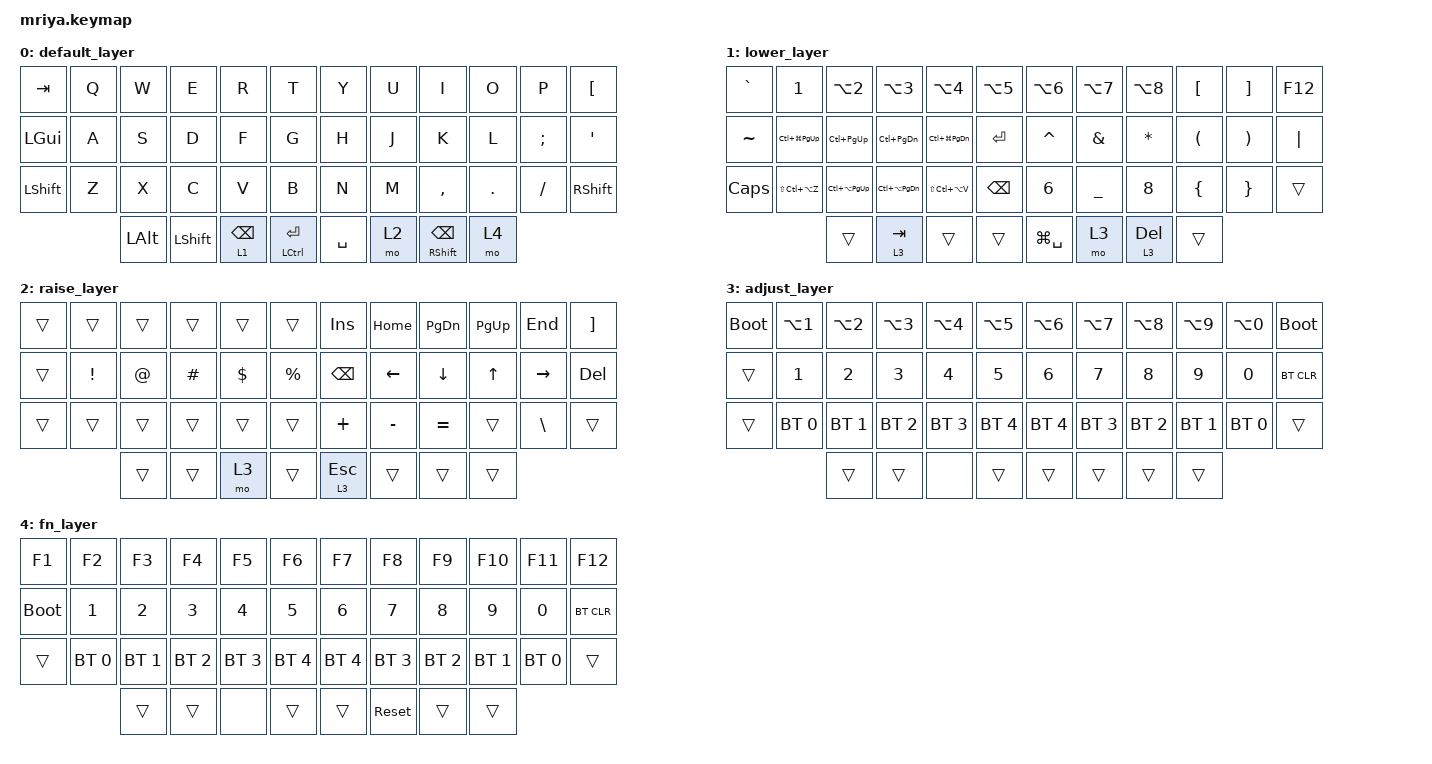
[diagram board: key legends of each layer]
/*
 * Copyright (c) 2023 Andrei Gaevskii
 *
 * SPDX-License-Identifier: MIT
 */

#include <behaviors.dtsi>
#include <dt-bindings/zmk/keys.h>
#include <dt-bindings/zmk/bt.h>

#define DEF 0
#define LWR 1
#define RSE 2
#define ADJ 3
#define FN 4

&lt {
    quick_tap_ms = <200>;
};

&mt {
    quick_tap_ms = <200>;
};

/ {
    keymap {
        compatible = "zmk,keymap";

        default_layer {
            bindings = <


// ╭──────────────────┬──────────────────┬──────────────────┬──────────────────┬──────────────────┬──────────────────╮    ╭──────────────────┬──────────────────┬─────────────────┬──────────────────┬──────────────────┬──────────────────╮
     &kp TAB            &kp Q              &kp W              &kp E              &kp R              &kp T                   &kp Y              &kp U              &kp I             &kp O              &kp P              &kp LBKT
// ├──────────────────┼──────────────────┼──────────────────┼──────────────────┼──────────────────┼──────────────────┤    ├──────────────────┼──────────────────┼─────────────────┼──────────────────┼──────────────────┼──────────────────┤
     &kp LGUI           &kp A              &kp S              &kp D              &kp F              &kp G                   &kp H              &kp J              &kp K             &kp L              &kp SEMI           &kp SQT
// ├──────────────────┼──────────────────┼──────────────────┼──────────────────┼──────────────────┼──────────────────┤    ├──────────────────┼──────────────────┼─────────────────┼──────────────────┼──────────────────┼──────────────────┤
     &kp LSHFT          &kp Z              &kp X              &kp C              &kp V              &kp B                   &kp N              &kp M              &kp COMMA         &kp DOT            &kp FSLH           &kp RSHFT
// ╰──────────────────┴──────────────────┴──────────────────┴──────────────────┼──────────────────┼──────────────────┤    ├──────────────────┼──────────────────┼─────────────────┼──────────────────┼──────────────────┴──────────────────╯
                                           &kp LALT            &kp LSHFT          &lt 1 BSPC         &mt LCTRL ENTER            &kp SPACE            &mo 2          &mt RSHFT BSPC    &mo 4
//                                       ╰──────────────────┴──────────────────┴──────────────────┴──────────────────╯    ╰──────────────────┴──────────────────┴─────────────────┴──────────────────╯

            >;
        };

        lower_layer {
            bindings = <

// ╭──────────────────┬──────────────────┬──────────────────┬──────────────────┬──────────────────┬──────────────────╮    ╭──────────────────┬──────────────────┬─────────────────┬──────────────────┬──────────────────┬──────────────────╮
     &kp GRAVE          &kp N1             &kp LA(N2)         &kp LA(N3)         &kp LA(N4)         &kp LA(N5)              &kp LA(N6)         &kp LA(N7)         &kp LA(N8)        &kp LBKT           &kp RBKT           &kp F12
// ├──────────────────┼──────────────────┼──────────────────┼──────────────────┼──────────────────┼──────────────────┤    ├──────────────────┼──────────────────┼─────────────────┼──────────────────┼──────────────────┼──────────────────┤
     &kp TILDE          &kp LC(LG(PG_UP))  &kp LC(PG_UP)      &kp LC(PG_DN)      &kp LC(LG(PG_DN))  &kp RET                 &kp CARET          &kp AMPS           &kp STAR          &kp LPAR           &kp RPAR           &kp PIPE
// ├──────────────────┼──────────────────┼──────────────────┼──────────────────┼──────────────────┼──────────────────┤    ├──────────────────┼──────────────────┼─────────────────┼──────────────────┼──────────────────┼──────────────────┤
     &kp CAPSLOCK       &kp LS(LC(LA(Z)))  &kp LC(LA(PG_UP))  &kp LC(LA(PG_DN))  &kp LS(LC(LA(V)))  &kp BSPC                &kp N6             &kp UNDER          &kp N8            &kp LBRC           &kp RBRC           &trans
// ╰──────────────────┴──────────────────┴──────────────────┴──────────────────┼──────────────────┼──────────────────┤    ├──────────────────┼──────────────────┼─────────────────┼──────────────────┼──────────────────┴──────────────────╯
                                           &trans             &lt 3 TAB          &trans             &trans                  &kp LG(SPACE)      &mo 3              &lt 3 DEL         &trans
//                                       ╰──────────────────┴──────────────────┴──────────────────┴──────────────────╯    ╰──────────────────┴──────────────────┴─────────────────┴──────────────────╯

            >;
        };

        raise_layer {
            bindings = <

// ╭──────────────────┬──────────────────┬──────────────────┬──────────────────┬──────────────────┬──────────────────╮    ╭──────────────────┬──────────────────┬─────────────────┬──────────────────┬──────────────────┬──────────────────╮
     &trans             &trans             &trans             &trans             &trans             &trans                  &kp INS            &kp HOME           &kp PG_DN         &kp PG_UP          &kp END            &kp RBKT
// ├──────────────────┼──────────────────┼──────────────────┼──────────────────┼──────────────────┼──────────────────┤    ├──────────────────┼──────────────────┼─────────────────┼──────────────────┼──────────────────┼──────────────────┤
     &trans             &kp EXCL           &kp AT             &kp HASH           &kp DLLR           &kp PRCNT               &kp BSPC           &kp LEFT           &kp DOWN          &kp UP             &kp RIGHT          &kp DEL
// ├──────────────────┼──────────────────┼──────────────────┼──────────────────┼──────────────────┼──────────────────┤    ├──────────────────┼──────────────────┼─────────────────┼──────────────────┼──────────────────┼──────────────────┤
     &trans             &trans             &trans             &trans             &trans             &trans                  &kp PLUS           &kp MINUS          &kp EQUAL         &trans             &kp BSLH           &trans
// ╰──────────────────┴──────────────────┴──────────────────┴──────────────────┼──────────────────┼──────────────────┤    ├──────────────────┼──────────────────┼─────────────────┼──────────────────┼──────────────────┴──────────────────╯
                                           &trans             &trans             &mo 3              &trans                  &lt 3 ESC          &trans             &trans            &trans
//                                       ╰──────────────────┴──────────────────┴──────────────────┴──────────────────╯    ╰──────────────────┴──────────────────┴─────────────────┴──────────────────╯

            >;
        };

        adjust_layer {
            bindings = <
  &bootloader  &kp LA(N1)    &kp LA(N2)    &kp LA(N3)    &kp LA(N4)    &kp LA(N5)      &kp LA(N6)    &kp LA(N7)    &kp LA(N8)    &kp LA(N9)    &kp LA(N0)    &bootloader
  &trans       &kp N1        &kp N2        &kp N3        &kp N4        &kp N5          &kp N6        &kp N7        &kp N8        &kp N9        &kp N0        &bt BT_CLR
  &trans       &bt BT_SEL 0  &bt BT_SEL 1  &bt BT_SEL 2  &bt BT_SEL 3  &bt BT_SEL 4    &bt BT_SEL 4  &bt BT_SEL 3  &bt BT_SEL 2  &bt BT_SEL 1  &bt BT_SEL 0  &trans
                             &trans        &trans        &none         &trans          &trans        &trans        &trans        &trans
            >;
        };

 fn_layer {
            bindings = <
  &kp F1       &kp F2        &kp F3        &kp F4        &kp F5        &kp F6          &kp F7        &kp F8        &kp F9        &kp F10       &kp F11       &kp F12
  &bootloader  &kp N1        &kp N2        &kp N3        &kp N4        &kp N5          &kp N6        &kp N7        &kp N8        &kp N9        &kp N0        &bt BT_CLR
  &trans       &bt BT_SEL 0  &bt BT_SEL 1  &bt BT_SEL 2  &bt BT_SEL 3  &bt BT_SEL 4    &bt BT_SEL 4  &bt BT_SEL 3  &bt BT_SEL 2  &bt BT_SEL 1  &bt BT_SEL 0  &trans
                             &trans        &trans        &none         &trans          &trans        &sys_reset    &trans        &trans
            >;
        };

    };
};
